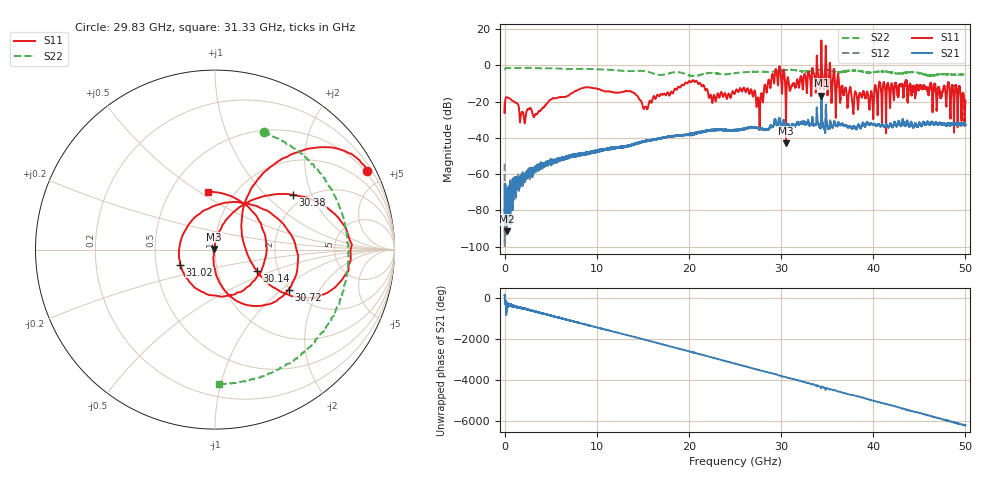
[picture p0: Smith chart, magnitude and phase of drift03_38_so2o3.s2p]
!Created with skrf (http://scikit-rf.org).
# Hz S RI R 50.0
!freq ReS11 ImS11 ReS21 ImS21 ReS12 ImS12 ReS22 ImS22
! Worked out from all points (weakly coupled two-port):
!   10001 points, 300 kHz to 50 GHz, reference 50 ohm
!   highest |S21| = -16.65 dB at 34.37 GHz (marker M1); lowest = -91.5 dB at 240.3 MHz (marker M2)
!   lowest |S11| = -43.1 dB at 30.53 GHz (marker M3), VSWR 1.01, Z = 49.4 + j0.316 ohm
!   |S11| at or under -10 dB: start of sweep to 19.55 GHz; 21.25 GHz to 28.55 GHz (7.298 GHz wide, 29.3 % of centre); 36.28 GHz to 40.62 GHz (4.339 GHz wide, 11.3 % of centre) (the widest 3 of 35)
!   |S22| runs from -5.9 to -1.3 dB; largest |S21 - S12| = 0.027
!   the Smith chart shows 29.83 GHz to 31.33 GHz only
!   S11 on the Smith chart (normalised r, x): 29.83 GHz: 0.43, +4.05; 30.14 GHz: 1.55, -0.39; 30.38 GHz: 1.73, +1.48; 30.72 GHz: 1.96, -1.12; 31.02 GHz: 0.67, -0.12; 31.33 GHz: 0.76, +0.54
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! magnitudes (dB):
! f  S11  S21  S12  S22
! 300 kHz  -21.6  -65.4  -54.3  -2.1
! 240.3 MHz  -17.6  -91.5  -71.3  -1.4
! 3.3 GHz  -27.2  -56.6  -57.4  -1.5
! 8.335 GHz  -12.6  -48.9  -49.3  -1.9
! 15.29 GHz  -22.8  -41.7  -42.1  -3.3
! 16.67 GHz  -16.5  -40.5  -40.5  -5.2
! 20.26 GHz  -9.1  -37.7  -38.1  -5.8
! 22.71 GHz  -16.5  -35.6  -35.6  -4.2
! 25 GHz  -15.3  -35.9  -35.8  -4.3
! 27.53 GHz  -17.9  -34.7  -34.5  -3.5
! 29.83 GHz  -0.4  -29.4  -28.5  -3.0
! 30.14 GHz  -11.7  -33.3  -33.4  -2.8
! 30.38 GHz  -5.5  -32.1  -32.3  -2.6
! 30.53 GHz  -43.1  -34.0  -34.1  -2.5
! 30.72 GHz  -6.6  -32.8  -32.9  -2.5
! 31.02 GHz  -13.5  -34.3  -34.2  -2.4
! 31.33 GHz  -9.8  -32.4  -32.6  -2.5
! 33.34 GHz  -7.3  -31.4  -31.3  -2.9
! 34.37 GHz  13.8  -16.6  -18.0  -2.3
! 37.86 GHz  -26.5  -33.5  -34.2  -2.9
! 41.67 GHz  -11.5  -34.2  -34.0  -3.7
! 50 GHz  -19.3  -32.7  -32.9  -5.0
